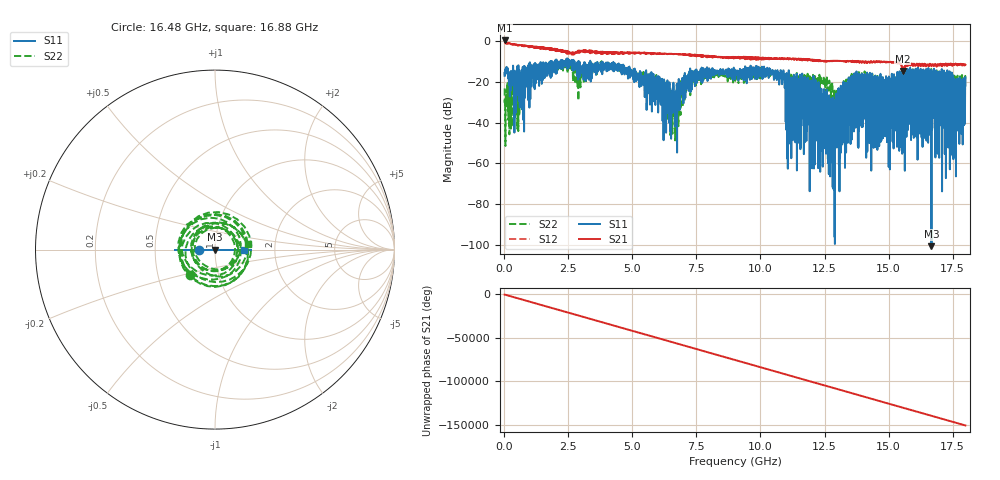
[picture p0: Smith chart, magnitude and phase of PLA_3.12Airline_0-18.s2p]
!Created with skrf (http://scikit-rf.org).
# GHz S RI R 50.0
!freq ReS11 ImS11 ReS21 ImS21 ReS12 ImS12 ReS22 ImS22
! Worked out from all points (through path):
!   10000 points, 10 MHz to 18 GHz, reference 50 ohm
!   highest |S21| = 0.50 dB at 10 MHz (marker M1); lowest = -14.5 dB at 15.56 GHz (marker M2)
!   lowest |S11| = -100.8 dB at 16.68 GHz (marker M3), VSWR 1.00, Z = 50 + j0 ohm
!   |S11| at or under -10 dB: start of sweep to 1.787 GHz; 2.91 GHz to 3.348 GHz (437.8 MHz wide, 14 % of centre); 3.357 GHz to end of sweep (the widest 3 of 27)
!   |S22| runs from -51.4 to -9.4 dB; largest |S21 - S12| = 0.46
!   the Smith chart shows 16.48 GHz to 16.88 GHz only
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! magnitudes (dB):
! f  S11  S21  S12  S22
! 10 MHz  -16.9  0.5  -0.3  -23.1
! 227.7 MHz  -16.6  -1.1  -1.1  -28.0
! 402.2 MHz  -22.1  -1.3  -1.5  -22.9
! 1.464 GHz  -20.9  -2.7  -3.0  -14.3
! 3.009 GHz  -12.7  -4.7  -4.7  -17.3
! 4.261 GHz  -11.0  -5.9  -6.0  -10.5
! 6.008 GHz  -26.0  -5.9  -6.1  -19.3
! 6.561 GHz  -30.6  -6.1  -6.1  -45.5
! 7.363 GHz  -17.3  -6.7  -6.9  -15.8
! 9.006 GHz  -16.8  -7.7  -7.7  -18.2
! 10.84 GHz  -20.1  -8.2  -8.5  -16.4
! 11.12 GHz  -38.6  -8.5  -8.7  -16.3
! 12.01 GHz  -49.3  -9.1  -9.1  -18.0
! 12.54 GHz  -43.4  -9.5  -9.6  -24.9
! 12.82 GHz  -37.2  -9.5  -9.6  -26.1
! 13.08 GHz  -31.4  -9.6  -9.6  -29.1
! 13.62 GHz  -17.3  -10.0  -9.7  -20.5
! 15 GHz  -30.5  -10.2  -10.3  -20.1
! 15.56 GHz  -15.9  -14.5  -14.3  -21.3
! 15.7 GHz  -28.2  -11.2  -11.5  -16.1
! 16.68 GHz  -100.8  -12.2  -11.8  -14.1
! 18 GHz  -21.7  -11.5  -11.3  -18.3
